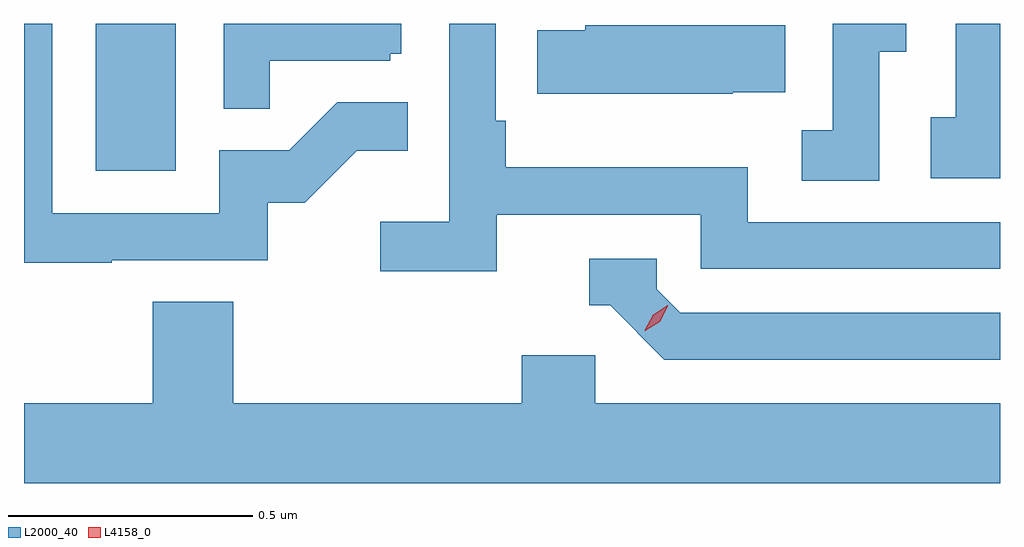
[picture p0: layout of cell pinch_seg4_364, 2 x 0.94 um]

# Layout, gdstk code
import gdstk
lib = gdstk.Library(unit=1e-6, precision=1e-09)
def R(c, l, rs):  # rectangles x0, y0, x1, y1
    for r in rs: c.add(gdstk.rectangle(r[:2], r[2:], *l))
def P(c, l, *ps):  # polygons
    for p in ps: c.add(gdstk.Polygon(p, *l))
L2000_40 = (2000, 40)
L4158_0 = (4158, 0)

pinch_seg4_364 = lib.new_cell('pinch_seg4_364')
R(pinch_seg4_364, L2000_40, [(973.178,805.452,973.342,805.753)])
P(pinch_seg4_364, L2000_40, [(974.784,805.696),(974.839,805.696),(974.839,805.753),(974.688,805.753),(974.688,805.535),(974.625,805.535),(974.625,805.432),(974.784,805.432)],
  [(973.535,805.677),(973.782,805.677),(973.782,805.692),(973.804,805.692),(973.804,805.753),(973.44,805.753),(973.44,805.579),(973.535,805.579)],
  [(973.211,805.269),(973.53,805.269),(973.53,805.386),(973.606,805.386),(973.713,805.493),(973.817,805.493),(973.817,805.592),(973.673,805.592),(973.575,805.494),(973.431,805.494),(973.431,805.365),(973.089,805.365),(973.089,805.753),(973.031,805.753),(973.031,805.264),(973.211,805.264)],
  [(974,805.362),(974.418,805.362),(974.418,805.251),(975.031,805.251),(975.031,805.347),(974.514,805.347),(974.514,805.459),(974.018,805.459),(974.018,805.555),(973.998,805.555),(973.998,805.753),(973.902,805.753),(973.902,805.348),(973.761,805.348),(973.761,805.246),(974,805.246)],
  [(975.031,805.753),(974.94,805.753),(974.94,805.562),(974.889,805.562),(974.889,805.437),(975.031,805.437)],
  [(974.483,805.613),(974.591,805.613),(974.591,805.75),(974.181,805.75),(974.181,805.74),(974.083,805.74),(974.083,805.61),(974.483,805.61)],
  [(975.031,805.161),(974.376,805.161),(974.328,805.209),(974.328,805.272),(974.189,805.272),(974.189,805.176),(974.232,805.176),(974.343,805.065),(975.031,805.065)],
  [(975.031,804.976),(974.202,804.976),(974.202,805.074),(974.051,805.074),(974.051,804.976),(973.46,804.976),(973.46,805.184),(973.295,805.184),(973.295,804.976),(973.031,804.976),(973.031,804.812),(975.031,804.812)])
P(pinch_seg4_364, L4158_0, [(974.303,805.124),(974.303,805.125),(974.32,805.157),(974.35,805.176),(974.351,805.176),(974.351,805.176),(974.334,805.143),(974.304,805.124)])

lib.write_gds('pinch_seg4_364.gds')
